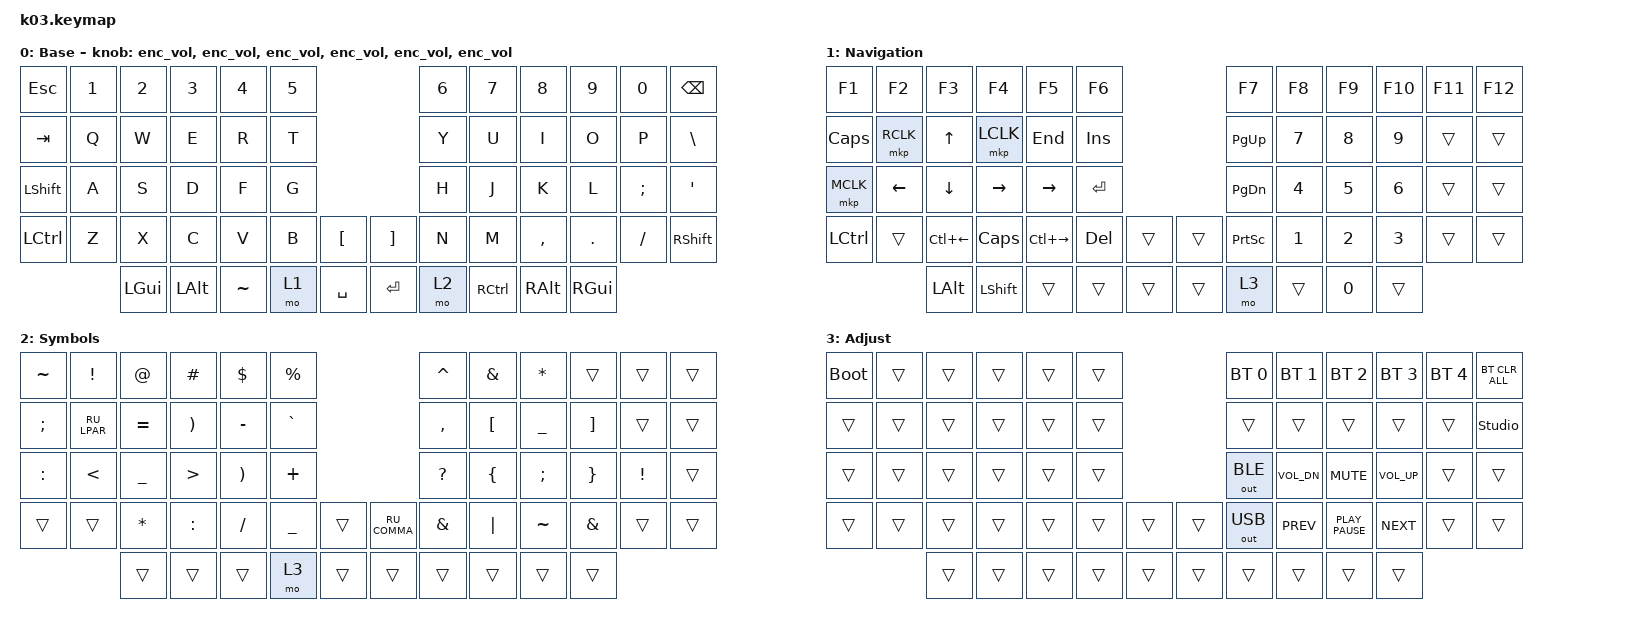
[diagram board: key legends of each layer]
#include "keys_ru.h"
#include <behaviors.dtsi>
#include <dt-bindings/zmk/bt.h>
#include <dt-bindings/zmk/keys.h>
#include <dt-bindings/zmk/outputs.h>
#include <dt-bindings/zmk/pointing.h>

/ {
    behaviors {
        enc_vol: enc_vol {
            compatible = "zmk,behavior-sensor-rotate";
            label = "ENC_VOL";
            #sensor-binding-cells = <0>;
            bindings = <&kp C_VOL_UP>, <&kp C_VOL_DN>;
        };
    };

    combos {
        compatible = "zmk,combos";

        lang {
            bindings = <&kp LALT>;
            key-positions = <51 50>;
            layers = <1>;
        };
    };

    keymap {
        compatible = "zmk,keymap";

        base {
            bindings = <
&kp ESC           &kp N1  &kp N2    &kp N3    &kp N4     &kp N5                          &kp N6  &kp N7     &kp N8     &kp N9    &kp N0    &kp BSPC
&kp TAB           &kp Q   &kp W     &kp E     &kp R      &kp T                           &kp Y   &kp U      &kp I      &kp O     &kp P     &kp BSLH
&kp LEFT_SHIFT    &kp A   &kp S     &kp D     &kp F      &kp G                           &kp H   &kp J      &kp K      &kp L     &kp SEMI  &kp SQT
&kp LEFT_CONTROL  &kp Z   &kp X     &kp C     &kp V      &kp B   &kp LBKT     &kp RBKT   &kp N   &kp M      &kp COMMA  &kp DOT   &kp FSLH  &kp RSHIFT
                          &kp LGUI  &kp LALT  &kp TILDE  &mo 1   &kp SPACE    &kp ENTER  &mo 2   &kp RCTRL  &kp RALT   &kp RGUI
            >;

            display-name = "Base";
            sensor-bindings =
                <&enc_vol>,
                <&enc_vol>,
                <&enc_vol>,
                <&enc_vol>,
                <&enc_vol>,
                <&enc_vol>;
        };

        nav {
            bindings = <
&kp F1            &kp F2          &kp F3          &kp F4           &kp F5         &kp F6                     &kp F7           &kp F8  &kp F9  &kp F10  &kp F11  &kp F12
&kp CAPSLOCK      &mkp RCLK       &kp UP          &mkp LCLK        &kp END        &kp INS                    &kp PG_UP        &kp N7  &kp N8  &kp N9   &trans   &trans
&mkp MCLK         &kp LEFT_ARROW  &kp DOWN_ARROW  &kp RIGHT_ARROW  &kp RIGHT      &kp RET                    &kp PG_DN        &kp N4  &kp N5  &kp N6   &trans   &trans
&kp LEFT_CONTROL  &trans          &kp LC(LEFT)    &kp CAPS         &kp LC(RIGHT)  &kp DEL  &trans    &trans  &kp PRINTSCREEN  &kp N1  &kp N2  &kp N3   &trans   &trans
                                  &kp LEFT_ALT    &kp LEFT_SHIFT   &trans         &trans   &trans    &trans  &mo 3            &trans  &kp N0  &trans
            >;

            display-name = "Navigation";
        };

        sym {
            bindings = <
&kp TILDE  &kp EXCL       &kp AT     &kp HASH   &kp DOLLAR  &kp PERCENT                             &kp CARET      &kp AMPERSAND  &kp ASTRK  &trans    &trans    &trans
&kp SEMI   &kp RU_LPAR    &kp EQUAL  &kp RPAR   &kp MINUS   &kp GRAVE                               &kp COMMA      &kp LBKT       &kp UNDER  &kp RBKT  &trans    &trans
&kp COLON  &kp LESS_THAN  &kp UNDER  &kp GT     &kp RPAR    &kp PLUS                                &kp QUESTION   &kp LBRC       &kp SEMI   &kp RBRC  &kp EXCL  &trans
&trans     &trans         &kp STAR   &kp COLON  &kp FSLH    &kp UNDERSCORE  &trans    &kp RU_COMMA  &kp AMPERSAND  &kp PIPE       &kp TILDE  &kp AMPS  &trans    &trans
                          &trans     &trans     &trans      &mo 3           &trans    &trans        &trans         &trans         &trans     &trans
            >;

            display-name = "Symbols";
        };

        adj {
            bindings = <
&bootloader  &trans  &trans  &trans  &trans  &trans                    &bt BT_SEL 0  &bt BT_SEL 1  &bt BT_SEL 2      &bt BT_SEL 3  &bt BT_SEL 4  &bt BT_CLR_ALL
&trans       &trans  &trans  &trans  &trans  &trans                    &trans        &trans        &trans            &trans        &trans        &studio_unlock
&trans       &trans  &trans  &trans  &trans  &trans                    &out OUT_BLE  &kp C_VOL_DN  &kp K_MUTE        &kp C_VOL_UP  &trans        &trans
&trans       &trans  &trans  &trans  &trans  &trans  &trans    &trans  &out OUT_USB  &kp K_PREV    &kp K_PLAY_PAUSE  &kp K_NEXT    &trans        &trans
                     &trans  &trans  &trans  &trans  &trans    &trans  &trans        &trans        &trans            &trans
            >;

            display-name = "Adjust";
        };
    };
};
